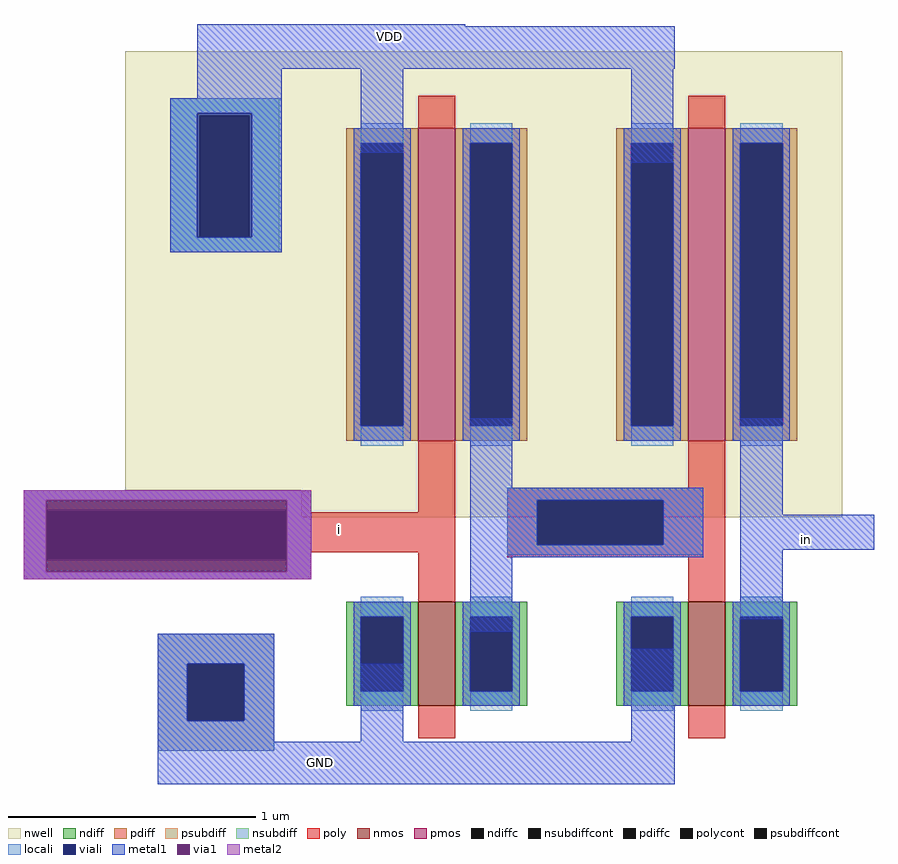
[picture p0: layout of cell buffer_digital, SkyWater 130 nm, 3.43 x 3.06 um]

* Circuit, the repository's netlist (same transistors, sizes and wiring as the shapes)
* SPICE3 file created from buffer_digital.ext - technology: sky130A

.subckt sky130_fd_pr__pfet_01v8_FXZ64Q a_n73_n126# w_n109_n188# a_15_n126# a_n15_n152#
+ VSUBS
X0 a_15_n126# a_n15_n152# a_n73_n126# w_n109_n188# sky130_fd_pr__pfet_01v8 ad=0.365 pd=3.1 as=0.365 ps=3.1 w=1.26 l=0.15
.ends

.subckt sky130_fd_pr__nfet_01v8_DQBD8A a_15_n42# a_n15_n68# a_n73_n42# VSUBS
X0 a_15_n42# a_n15_n68# a_n73_n42# VSUBS sky130_fd_pr__nfet_01v8 ad=0.122 pd=1.42 as=0.122 ps=1.42 w=0.42 l=0.15
.ends

.subckt buffer_digital
Xsky130_fd_pr__pfet_01v8_FXZ64Q_0 w_n192_202# w_n192_202# a_116_148# a_n274_130# sky130_fd_pr__pfet_01v8_FXZ64Q_1/VSUBS
+ sky130_fd_pr__pfet_01v8_FXZ64Q
Xsky130_fd_pr__pfet_01v8_FXZ64Q_1 w_n192_202# w_n192_202# m1_304_98# a_116_148# sky130_fd_pr__pfet_01v8_FXZ64Q_1/VSUBS
+ sky130_fd_pr__pfet_01v8_FXZ64Q
Xsky130_fd_pr__nfet_01v8_DQBD8A_0 a_116_148# a_n274_130# sky130_fd_pr__pfet_01v8_FXZ64Q_1/VSUBS
+ sky130_fd_pr__pfet_01v8_FXZ64Q_1/VSUBS sky130_fd_pr__nfet_01v8_DQBD8A
Xsky130_fd_pr__nfet_01v8_DQBD8A_1 m1_304_98# a_116_148# sky130_fd_pr__pfet_01v8_FXZ64Q_1/VSUBS
+ sky130_fd_pr__pfet_01v8_FXZ64Q_1/VSUBS sky130_fd_pr__nfet_01v8_DQBD8A
.ends

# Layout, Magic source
magic
tech sky130A
magscale 1 2
<< nwell >>
rect -192 202 -28 556
<< psubdiff >>
rect -166 62 -72 86
rect -166 16 -142 62
rect -96 16 -72 62
rect -166 -8 -72 16
<< nsubdiff >>
rect -156 504 -68 518
rect -156 406 -132 504
rect -92 406 -68 504
rect -156 394 -68 406
<< psubdiffcont >>
rect -142 16 -96 62
<< nsubdiffcont >>
rect -132 406 -92 504
<< poly >>
rect -274 186 -42 202
rect -274 146 -256 186
rect -62 184 -42 186
rect 44 184 74 240
rect 262 204 292 232
rect -62 152 74 184
rect -62 146 -42 152
rect -274 130 -42 146
rect 44 130 74 152
rect 116 194 292 204
rect 116 158 140 194
rect 242 158 292 194
rect 116 148 292 158
rect 262 122 292 148
<< polycont >>
rect -256 146 -62 186
rect 140 158 242 194
<< locali >>
rect -156 506 -66 518
rect -156 406 -134 506
rect -90 406 -66 506
rect -156 394 -66 406
rect -274 186 -42 202
rect -274 146 -256 186
rect -62 146 -42 186
rect 116 194 274 204
rect 116 158 140 194
rect 242 158 274 194
rect 116 150 274 158
rect -274 130 -42 146
rect -166 62 -72 86
rect -166 16 -142 62
rect -96 16 -72 62
rect -166 -8 -72 16
<< viali >>
rect -134 504 -90 506
rect -134 406 -132 504
rect -132 406 -92 504
rect -92 406 -90 504
rect -256 146 -62 186
rect 140 158 242 194
rect -142 16 -96 62
<< metal1 >>
rect -134 576 82 578
rect -134 542 251 576
rect -134 518 -66 542
rect -156 506 -66 518
rect -156 406 -134 506
rect -90 406 -66 506
rect -2 474 32 542
rect 216 466 250 542
rect -156 394 -66 406
rect 86 204 120 260
rect -274 194 -42 202
rect -274 136 -256 194
rect -62 136 -42 194
rect -274 130 -42 136
rect 86 194 274 204
rect 86 158 140 194
rect 242 158 274 194
rect 86 148 274 158
rect 304 182 338 260
rect 304 154 412 182
rect 86 88 120 148
rect 304 98 338 154
rect -166 62 -72 86
rect -166 16 -142 62
rect -96 16 -72 62
rect -166 -1 -72 16
rect -2 -1 32 62
rect 216 29 250 74
rect 216 -1 251 29
rect -166 -35 251 -1
<< via1 >>
rect -256 186 -62 194
rect -256 146 -62 186
rect -256 136 -62 146
<< metal2 >>
rect -274 194 -42 202
rect -274 136 -256 194
rect -62 136 -42 194
rect -274 130 -42 136
use sky130_fd_pr__nfet_01v8_DQBD8A  sky130_fd_pr__nfet_01v8_DQBD8A_0
transform 1 0 59 0 1 70
box -73 -68 73 68
use sky130_fd_pr__nfet_01v8_DQBD8A  sky130_fd_pr__nfet_01v8_DQBD8A_1
transform 1 0 277 0 1 70
box -73 -68 73 68
use sky130_fd_pr__pfet_01v8_FXZ64Q  sky130_fd_pr__pfet_01v8_FXZ64Q_0
transform 1 0 59 0 1 368
box -109 -188 109 188
use sky130_fd_pr__pfet_01v8_FXZ64Q  sky130_fd_pr__pfet_01v8_FXZ64Q_1
transform 1 0 277 0 1 368
box -109 -188 109 188
<< labels >>
rlabel poly -19 170 -19 170 1 i
port 1 n
rlabel metal1 357 162 357 162 1 in
port 2 n
rlabel metal1 21 568 21 568 1 VDD
port 3 n
rlabel metal1 -35 -18 -35 -18 1 GND
port 4 n
<< end >>

# cell sky130_fd_pr__nfet_01v8_DQBD8A: kit device sky130_fd_pr__nfet_01v8, w 0.420 l 0.150 m 1 nf 1 diffcov 100 polycov 100 guard 0 glc 1 grc 1 gtc 1 gbc 1 tbcov 100 rlcov 100 topc 0 botc 0 poverlap 0 doverlap 1 lmin 0.15 wmin 0.42 compatible {sky130_fd_pr__nfet_01v8 sky130_fd_pr__nfet_01v8_lvt sky130_fd_bs_flash__special_sonosfet_star sky130_fd_pr__nfet_g5v0d10v5 sky130_fd_pr__nfet_05v0_nvt sky130_fd_pr__nfet_03v3_nvt} full_metal 0 viasrc 100 viadrn 100 viagate 0 viagb 0 viagr 0 viagl 0 viagt 0

# cell sky130_fd_pr__pfet_01v8_FXZ64Q: kit device sky130_fd_pr__pfet_01v8, w 1.26 l 0.15 m 1 nf 1 diffcov 100 polycov 100 guard 0 glc 1 grc 1 gtc 1 gbc 1 tbcov 100 rlcov 100 topc 0 botc 0 poverlap 0 doverlap 1 lmin 0.15 wmin 0.42 compatible {sky130_fd_pr__pfet_01v8 sky130_fd_pr__pfet_01v8_lvt sky130_fd_pr__pfet_01v8_hvt sky130_fd_pr__pfet_g5v0d10v5} full_metal 0 viasrc 100 viadrn 100 viagate 0 viagb 0 viagr 0 viagl 0 viagt 0
